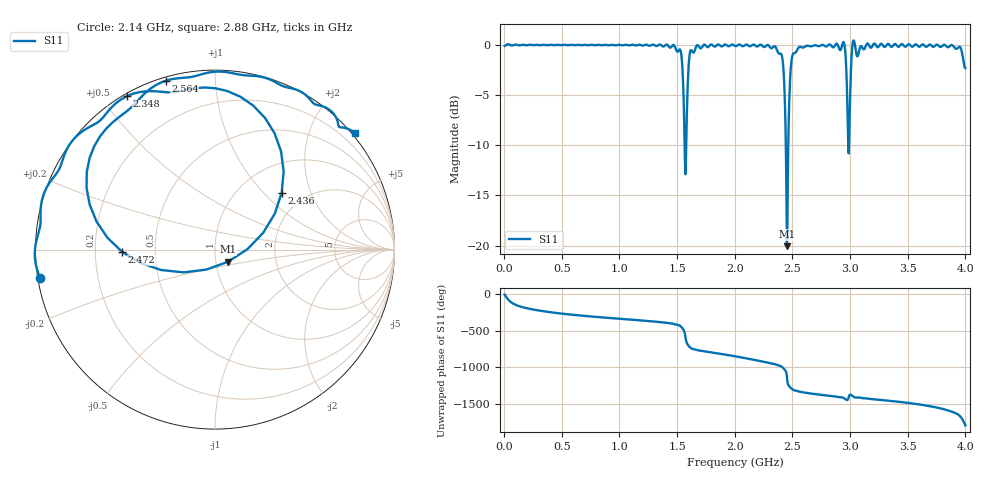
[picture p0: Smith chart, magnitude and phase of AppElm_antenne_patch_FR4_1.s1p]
! TOUCHSTONE file generated by CST MICROWAVE STUDIO
! Date and time: Tue Jun  7 20:32:26 2022
! Project name: AppElm_antenne_patch_FR4.cst
! Parameters = {L=45; W=58.5; e=0.035; h=1.6; lambda=0.190476; ls=120; w0=1.6; w1=0.533333; ws=120; y0=15; y1=23.8095}
! Header version: 2018
! Port assignment regex: !\s*Touchstone port\s*([0-9]+)\s*=\s*(CST MWS port|CST DS port)\s*([0-9]+|Zmin|Zmax)\s*\(\"(.*)\"\)(\s*mode\s*([0-9]+))?.*
! Touchstone port assignment:
! Touchstone port 1 = CST MWS port 1 ("")
# GHz S MA R 50
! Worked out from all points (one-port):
!   1000 points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, 4 MHz to 4 GHz, reference 50 ohm
!   lowest |S11| = -20.1 dB at 2.452 GHz (marker M1), VSWR 1.22, Z = 57.3 - j7.82 ohm
!   |S11| at or under -10 dB: 1.565 GHz to 1.579 GHz (13.45 MHz wide, 0.856 % of centre); 2.443 GHz to 2.464 GHz (21.22 MHz wide, 0.865 % of centre); 2.984492 GHz to 2.990642 GHz (6.149 MHz wide, 0.206 % of centre)
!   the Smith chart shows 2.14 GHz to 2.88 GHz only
!   S11 on the Smith chart (normalised r, x): 2.14 GHz: 0.01, -0.08; 2.348 GHz: 0.01, +0.58; 2.436 GHz: 1.54, +1.28; 2.472 GHz: 0.32, -0.01; 2.564 GHz: 0.02, +0.75; 2.88 GHz: -0.06, +2.77
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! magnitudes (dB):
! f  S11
! 4 MHz  -0.1
! 504 MHz  0.0
! 1.004 GHz  0.0
! 1.504 GHz  -0.7
! 1.536 GHz  -0.9
! 1.572 GHz  -12.9
! 1.584 GHz  -7.1
! 1.608 GHz  -1.0
! 1.624 GHz  -0.5
! 2.004 GHz  -0.1
! 2.14 GHz  -0.1
! 2.348 GHz  -0.1
! 2.412 GHz  -1.3
! 2.424 GHz  -2.7
! 2.436 GHz  -6.2
! 2.452 GHz  -20.1
! 2.472 GHz  -5.7
! 2.484 GHz  -2.6
! 2.504 GHz  -0.9
! 2.564 GHz  -0.2
! 2.88 GHz  0.1
! 2.948 GHz  0.2
! 2.984 GHz  -9.9
! 3.004 GHz  -3.7
! 3.032 GHz  0.5
! 3.504 GHz  0.1
! 3.944 GHz  -0.2
! 4 GHz  -2.3
